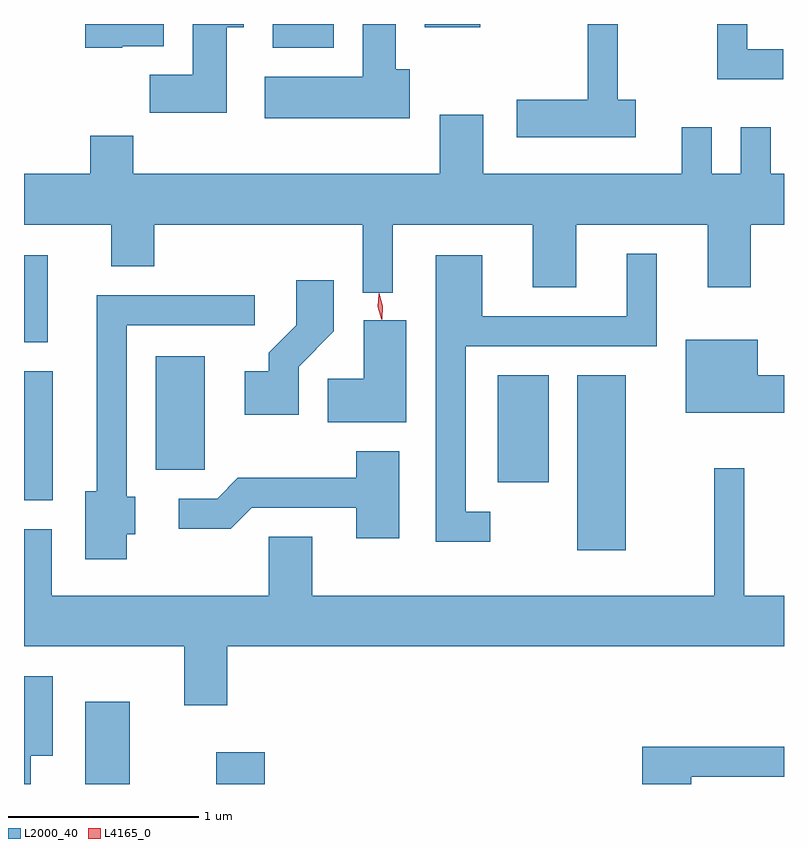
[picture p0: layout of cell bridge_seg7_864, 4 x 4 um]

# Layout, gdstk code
import gdstk
lib = gdstk.Library(unit=1e-6, precision=1e-09)
def R(c, l, rs):  # rectangles x0, y0, x1, y1
    for r in rs: c.add(gdstk.rectangle(r[:2], r[2:], *l))
def P(c, l, *ps):  # polygons
    for p in ps: c.add(gdstk.Polygon(p, *l))
L2000_40 = (2000, 40)
L4165_0 = (4165, 0)

bridge_seg7_864 = lib.new_cell('bridge_seg7_864')
R(bridge_seg7_864, L2000_40, [(202.346,1709.152,202.579,1709.584), (203.036,1709.152,203.289,1709.319), (204.936,1710.381,205.189,1711.304), (202.023,1710.646,202.174,1711.324), (204.516,1710.741,204.784,1711.304), (202.716,1710.806,202.974,1711.404), (202.023,1711.476,202.149,1711.934), (203.331,1713.026,203.654,1713.152), (204.131,1713.136,204.424,1713.152)])
P(bridge_seg7_864, L2000_40, [(203.089,1713.136),(203.179,1713.136),(203.179,1713.152),(202.911,1713.152),(202.911,1712.884),(202.686,1712.884),(202.686,1712.686),(203.089,1712.686)],
  [(206.018,1713.019),(205.829,1713.019),(205.829,1713.152),(205.671,1713.152),(205.671,1712.861),(206.018,1712.861)],
  [(205.244,1712.754),(205.149,1712.754),(205.149,1713.152),(204.991,1713.152),(204.991,1712.754),(204.616,1712.754),(204.616,1712.556),(205.244,1712.556)],
  [(204.054,1712.914),(203.979,1712.914),(203.979,1713.152),(203.806,1713.152),(203.806,1712.874),(203.291,1712.874),(203.291,1712.656),(204.054,1712.656)],
  [(202.54,1713.036),(202.759,1713.036),(202.759,1713.152),(202.346,1713.152),(202.346,1713.026),(202.54,1713.026)],
  [(203.964,1712.096),(204.701,1712.096),(204.701,1711.766),(204.929,1711.766),(204.929,1712.096),(205.621,1712.096),(205.621,1711.766),(205.849,1711.766),(205.849,1712.096),(206.023,1712.096),(206.023,1712.364),(205.954,1712.364),(205.954,1712.608),(205.796,1712.608),(205.796,1712.364),(205.644,1712.364),(205.644,1712.608),(205.486,1712.608),(205.486,1712.364),(204.439,1712.364),(204.439,1712.674),(204.211,1712.674),(204.211,1712.364),(202.599,1712.364),(202.599,1712.564),(202.371,1712.564),(202.371,1712.364),(202.023,1712.364),(202.023,1712.096),(202.481,1712.096),(202.481,1711.876),(202.709,1711.876),(202.709,1712.096),(203.806,1712.096),(203.806,1711.738),(203.964,1711.738)],
  [(204.478,1710.584),(204.349,1710.584),(204.349,1711.456),(205.354,1711.456),(205.354,1711.943),(205.196,1711.943),(205.196,1711.614),(204.434,1711.614),(204.434,1711.934),(204.191,1711.934),(204.191,1710.426),(204.478,1710.426)],
  [(203.469,1711.349),(203.654,1711.534),(203.654,1711.804),(203.456,1711.804),(203.456,1711.567),(203.311,1711.422),(203.311,1711.324),(203.186,1711.324),(203.186,1711.096),(203.469,1711.096)],
  [(202.564,1710.466),(202.609,1710.466),(202.609,1710.664),(202.564,1710.664),(202.564,1711.566),(203.238,1711.566),(203.238,1711.724),(202.406,1711.724),(202.406,1710.694),(202.346,1710.694),(202.346,1710.336),(202.564,1710.336)],
  [(204.034,1711.594),(203.811,1711.594),(203.811,1711.284),(203.621,1711.284),(203.621,1711.056),(204.034,1711.056)],
  [(206.023,1711.304),(205.884,1711.304),(205.884,1711.489),(205.506,1711.489),(205.506,1711.106),(206.023,1711.106)],
  [(203.999,1710.904),(203.771,1710.904),(203.771,1710.764),(203.149,1710.764),(203.039,1710.654),(202.838,1710.654),(202.838,1710.496),(203.112,1710.496),(203.222,1710.606),(203.771,1710.606),(203.771,1710.446),(203.999,1710.446)],
  [(203.094,1709.876),(206.023,1709.876),(206.023,1710.144),(205.814,1710.144),(205.814,1710.813),(205.656,1710.813),(205.656,1710.144),(203.539,1710.144),(203.539,1710.454),(203.311,1710.454),(203.311,1710.144),(202.169,1710.144),(202.169,1710.494),(202.023,1710.494),(202.023,1709.876),(202.866,1709.876),(202.866,1709.566),(203.094,1709.566)],
  [(202.059,1709.301),(202.174,1709.301),(202.174,1709.719),(202.023,1709.719),(202.023,1709.152),(202.059,1709.152)],
  [(205.534,1709.191),(206.023,1709.191),(206.023,1709.349),(205.276,1709.349),(205.276,1709.152),(205.534,1709.152)])
P(bridge_seg7_864, L4165_0, [(203.902,1711.599),(203.902,1711.6),(203.886,1711.664),(203.889,1711.731),(203.89,1711.732),(203.89,1711.731),(203.906,1711.666),(203.903,1711.6)],
  [(203.908,1711.597),(203.907,1711.598),(203.89,1711.665),(203.892,1711.735),(203.892,1711.735),(203.893,1711.735),(203.91,1711.667),(203.908,1711.598)])

lib.write_gds('bridge_seg7_864.gds')
